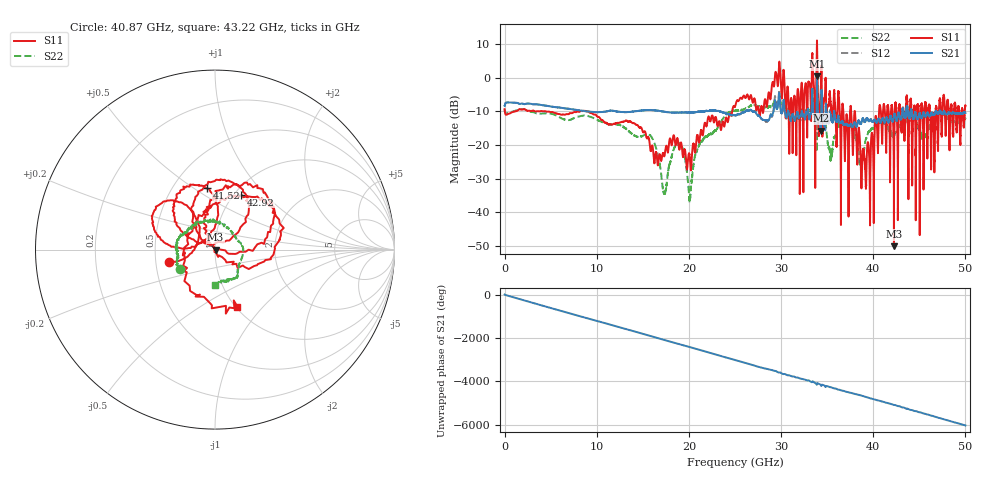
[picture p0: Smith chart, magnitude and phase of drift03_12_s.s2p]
!Created with skrf (http://scikit-rf.org).
# Hz S RI R 50.0
!freq ReS11 ImS11 ReS21 ImS21 ReS12 ImS12 ReS22 ImS22
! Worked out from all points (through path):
!   10001 points, 300 kHz to 50 GHz, reference 50 ohm
!   highest |S21| = 0.41 dB at 33.9 GHz (marker M1); lowest = -15.7 dB at 34.32 GHz (marker M2)
!   group delay of S21, straight-line fit = 335 ps
!   lowest |S11| = -50.1 dB at 42.25 GHz (marker M3), VSWR 1.01, Z = 50.3 - j0.0725 ohm
!   |S11| at or under -10 dB: 4.473 GHz to 7.934 GHz (3.461 GHz wide, 55.8 % of centre); 9.008 GHz to 24.7 GHz (15.69 GHz wide, 93.1 % of centre); 38.01 GHz to 40.63 GHz (2.618 GHz wide, 6.66 % of centre) (the widest 3 of 67)
!   |S22| runs from -37.1 to -5.9 dB; largest |S21 - S12| = 0.11
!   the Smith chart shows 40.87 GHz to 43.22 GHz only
!   S11 on the Smith chart (normalised r, x): 40.87 GHz: 0.59, -0.09; 41.52 GHz: 0.73, +0.56; 42.92 GHz: 1.07, +0.74; 43.22 GHz: 1.02, -0.73
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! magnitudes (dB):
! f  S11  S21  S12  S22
! 300 kHz  -9.3  -8.4  -8.5  -9.3
! 8.335 GHz  -9.9  -9.8  -9.8  -11.4
! 16.67 GHz  -25.5  -9.8  -9.8  -23.5
! 17.36 GHz  -23.2  -10.1  -10.1  -34.3
! 19.04 GHz  -20.3  -10.4  -10.4  -19.9
! 20.11 GHz  -23.8  -10.3  -10.3  -34.8
! 21.18 GHz  -18.0  -10.1  -10.1  -19.6
! 25 GHz  -8.6  -11.1  -11.1  -9.8
! 29.66 GHz  -2.4  -8.3  -8.4  -7.2
! 31.08 GHz  -6.1  -12.7  -12.7  -10.5
! 33.34 GHz  0.3  -7.6  -7.7  -9.5
! 33.9 GHz  10.9  0.4  0.0  -19.1
! 34.32 GHz  -2.8  -15.7  -15.0  -11.3
! 35.33 GHz  -6.0  -10.4  -9.9  -23.6
! 38.97 GHz  -22.1  -12.6  -12.7  -22.7
! 40.87 GHz  -11.5  -13.1  -13.1  -13.0
! 41.52 GHz  -9.2  -12.2  -12.3  -14.5
! 41.67 GHz  -9.8  -13.3  -13.3  -15.1
! 42.25 GHz  -50.1  -11.4  -11.5  -17.4
! 42.92 GHz  -9.4  -12.1  -12.1  -14.5
! 43.22 GHz  -9.3  -8.9  -9.2  -14.0
! 50 GHz  -8.2  -10.5  -10.5  -12.1
